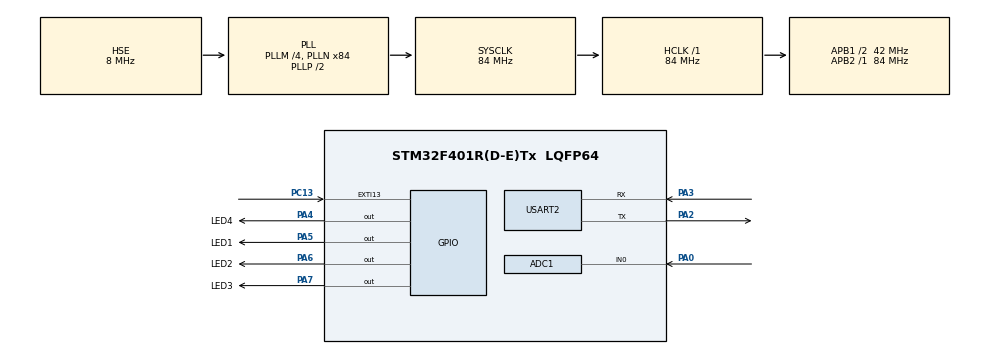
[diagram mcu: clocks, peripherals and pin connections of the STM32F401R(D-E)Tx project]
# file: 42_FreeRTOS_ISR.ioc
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ADC1.Channel-0\#ChannelRegularConversion=ADC_CHANNEL_0
ADC1.NbrOfConversionFlag=1
ADC1.Rank-0\#ChannelRegularConversion=1
ADC1.SamplingTime-0\#ChannelRegularConversion=ADC_SAMPLETIME_3CYCLES
ADC1.master=1
Mcu.Family=STM32F4
Mcu.Name=STM32F401R(D-E)Tx
Mcu.Package=LQFP64
NVIC.EXTI15_10_IRQn=true\:6\:0\:true\:false\:true\:true\:true\:true
NVIC.PriorityGroup=NVIC_PRIORITYGROUP_4
NVIC.TIM1_TRG_COM_TIM11_IRQn=true\:15\:0\:false\:false\:true\:false\:true\:true
NVIC.TimeBase=TIM1_TRG_COM_TIM11_IRQn
NVIC.TimeBaseIP=TIM11
NVIC.USART2_IRQn=true\:5\:0\:true\:false\:true\:true\:true\:true
PA0-WKUP.Signal=ADCx_IN0
PA2.Mode=Asynchronous
PA2.Signal=USART2_TX
PA3.Mode=Asynchronous
PA3.Signal=USART2_RX
PA4.GPIO_Label=LED4
PA4.Signal=GPIO_Output
PA5.GPIO_Label=LED1
PA5.Signal=GPIO_Output
PA6.GPIO_Label=LED2
PA6.Signal=GPIO_Output
PA7.GPIO_Label=LED3
PA7.Signal=GPIO_Output
PC13-ANTI_TAMP.GPIO_ModeDefaultEXTI=GPIO_MODE_IT_FALLING
PC13-ANTI_TAMP.GPIO_PuPd=GPIO_PULLUP
PC13-ANTI_TAMP.Signal=GPXTI13
PH0\ -\ OSC_IN.Mode=HSE-External-Clock-Source
PH0\ -\ OSC_IN.Signal=RCC_OSC_IN
PH1\ -\ OSC_OUT.Mode=HSE-External-Clock-Source
PH1\ -\ OSC_OUT.Signal=RCC_OSC_OUT
ProjectManager.HeapSize=0x200
ProjectManager.StackSize=0x400
ProjectManager.TargetToolchain=STM32CubeIDE
RCC.48MHZClocksFreq_Value=42000000
RCC.AHBFreq_Value=84000000
RCC.APB1CLKDivider=RCC_HCLK_DIV2
RCC.APB1Freq_Value=42000000
RCC.APB1TimFreq_Value=84000000
RCC.APB2Freq_Value=84000000
RCC.APB2TimFreq_Value=84000000
RCC.CortexFreq_Value=84000000
RCC.HCLKFreq_Value=84000000
RCC.HSE_VALUE=8000000
RCC.HSI_VALUE=16000000
RCC.LSE_VALUE=32768
RCC.PLLM=4
RCC.PLLN=84
RCC.PLLSourceVirtual=RCC_PLLSOURCE_HSE
RCC.SYSCLKFreq_VALUE=84000000
RCC.SYSCLKSource=RCC_SYSCLKSOURCE_PLLCLK
RCC.VCOOutputFreq_Value=168000000
SH.ADCx_IN0.0=ADC1_IN0,IN0
USART2.VirtualMode=VM_ASYNC
VP_SYS_VS_tim11.Mode=TIM11
board=custom

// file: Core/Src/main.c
/* USER CODE BEGIN Header */
/* USER CODE END Header */
#include "main.h"
#include "adc.h"
#include "usart.h"
#include "gpio.h"

/* USER CODE BEGIN Includes */
#include "stdio.h"
#include "string.h"

#include "FreeRTOS.h"
#include "task.h"
#include "queue.h"
#include "semphr.h"
/* USER CODE END Includes */

/* USER CODE BEGIN PTD */
typedef struct{
	uint8_t channel;
	uint16_t value;
}ADC_t;

typedef struct{
	uint8_t buffer[20];
	uint8_t i;
	uint8_t Ubyte; //byte fin de cadena
}UART_t;

/* USER CODE END PTD */

/* USER CODE BEGIN PV */
xTaskHandle xTask1;
xTaskHandle xTask2;
xTaskHandle xTask3;

xQueueHandle xQueueUART;
xQueueHandle xQueueADC;

xSemaphoreHandle xSemaphExtern;
xSemaphoreHandle xSemaphUART;

UART_t uartsend;
/* USER CODE END PV */

void SystemClock_Config(void);
/* USER CODE BEGIN PFP */
void vTask1(void *params);
void vTask2(void *params);
void vTask3(void *params);

/* USER CODE END PFP */

/* USER CODE BEGIN 0 */
#define SYSTEM_VIEW				1

void UART_Printf(char *format,...);

/* USER CODE END 0 */

int main(void)
{

  /* MCU Configuration--------------------------------------------------------*/

  /* Reset of all peripherals, Initializes the Flash interface and the Systick. */
  HAL_Init();

  /* Configure the system clock */
  SystemClock_Config();

  /* Initialize all configured peripherals */
  MX_GPIO_Init();
  MX_USART2_UART_Init();
  MX_ADC1_Init();
  /* USER CODE BEGIN 2 */

  HAL_UART_Receive_IT(&huart2, &uartsend.buffer, sizeof(uartsend.buffer));

  BaseType_t status;
  status = xTaskCreate(vTask1, "tarea1", configMINIMAL_STACK_SIZE, NULL, 0, &xTask1);
  configASSERT(status == pdPASS);
  status = xTaskCreate(vTask2, "tarea2", configMINIMAL_STACK_SIZE, NULL, 0, &xTask2);
  configASSERT(status == pdPASS);
  status = xTaskCreate(vTask3, "tarea2", configMINIMAL_STACK_SIZE, NULL, 0, &xTask3);
  configASSERT(status == pdPASS);

  xQueueADC = xQueueCreate(5,sizeof(ADC_t)); //el tamaño de las estrucutra
  configASSERT(xQueueADC != NULL);

  xQueueUART = xQueueCreate(15,sizeof(UART_t)); //el tamaño de las estrucutra 15; porque va a tener mas flujo de datos
  configASSERT(xQueueUART != NULL);

  xSemaphExtern = xSemaphoreCreateBinary(); //
  configASSERT(xSemaphExtern != NULL);

  xSemaphUART= xSemaphoreCreateMutex(); //
  configASSERT(xSemaphUART != NULL);

  vTaskStartScheduler();//Arrancamos el kernel

  /* USER CODE END 2 */

  /* Infinite loop */
  while(1){}

}

void SystemClock_Config(void)
{
  RCC_OscInitTypeDef RCC_OscInitStruct = {0};
  RCC_ClkInitTypeDef RCC_ClkInitStruct = {0};

  /** Configure the main internal regulator output voltage
  */
  __HAL_RCC_PWR_CLK_ENABLE();
  __HAL_PWR_VOLTAGESCALING_CONFIG(PWR_REGULATOR_VOLTAGE_SCALE2);

  /** Initializes the RCC Oscillators according to the specified parameters
  * in the RCC_OscInitTypeDef structure.
  */
  RCC_OscInitStruct.OscillatorType = RCC_OSCILLATORTYPE_HSE;
  RCC_OscInitStruct.HSEState = RCC_HSE_BYPASS;
  RCC_OscInitStruct.PLL.PLLState = RCC_PLL_ON;
  RCC_OscInitStruct.PLL.PLLSource = RCC_PLLSOURCE_HSE;
  RCC_OscInitStruct.PLL.PLLM = 4;
  RCC_OscInitStruct.PLL.PLLN = 84;
  RCC_OscInitStruct.PLL.PLLP = RCC_PLLP_DIV2;
  RCC_OscInitStruct.PLL.PLLQ = 4;
  if (HAL_RCC_OscConfig(&RCC_OscInitStruct) != HAL_OK)
  {
    Error_Handler();
  }

  /** Initializes the CPU, AHB and APB buses clocks
  */
  RCC_ClkInitStruct.ClockType = RCC_CLOCKTYPE_HCLK|RCC_CLOCKTYPE_SYSCLK
                              |RCC_CLOCKTYPE_PCLK1|RCC_CLOCKTYPE_PCLK2;
  RCC_ClkInitStruct.SYSCLKSource = RCC_SYSCLKSOURCE_PLLCLK;
  RCC_ClkInitStruct.AHBCLKDivider = RCC_SYSCLK_DIV1;
  RCC_ClkInitStruct.APB1CLKDivider = RCC_HCLK_DIV2;
  RCC_ClkInitStruct.APB2CLKDivider = RCC_HCLK_DIV1;

  if (HAL_RCC_ClockConfig(&RCC_ClkInitStruct, FLASH_LATENCY_2) != HAL_OK)
  {
    Error_Handler();
  }
}

/* USER CODE BEGIN 4 */
void vTask1(void *params){

	for(;;){
		if(xSemaphoreTake(xSemaphExtern,portMAX_DELAY)){
			HAL_GPIO_TogglePin(GPIOA, GPIO_PIN_5);
			UART_Printf("Semaforo Recibido de EXT INT\n\r");
		}
		vTaskDelay(pdMS_TO_TICKS(250));
	}
	vTaskDelete(NULL);
}

void vTask2(void *params){
	ADC_t task_data;

	for(;;){
		HAL_ADC_Start(&hadc1);
		HAL_Delay(1);
		task_data.value = HAL_ADC_GetValue(&hadc1);
		task_data.channel = 0; //canal analogico 0

		if(xQueueSend(xQueueADC,&task_data,portMAX_DELAY)){
			UART_Printf("Queue ADC send\n\r");
		}
		vTaskDelay(pdMS_TO_TICKS(2000));
	}
	vTaskDelete(NULL);
}

void vTask3(void *params){
	huart2.Instance->CR1 &= ~ USART_CR1_UE; //deshabilitar UART
	huart2.Instance->CR1 |= USART_CR1_RE; //habilitando recepcion
	huart2.Instance->CR1 |= USART_CR1_RXNEIE; //habilitar interrupcion por recpcion uart

	HAL_NVIC_SetPriority(USART2_IRQn, 5, 0);
	HAL_NVIC_EnableIRQ(USART2_IRQn);
	huart2.Instance->CR1 |= USART_CR1_UE; //habilitar UART

	UART_t task_uart;
	for(;;){
		if(xQueueReceive(xQueueUART, (void *)&task_uart, 9000)){
			UART_Printf("buffer: %s\n\r",task_uart.buffer);
			UART_Printf("i: %u\n\r",task_uart.i);
			UART_Printf("Ultimo byte: %X\n\r",task_uart.Ubyte);
		}else{
			UART_Printf("Escribeme :C\n\r");

		}
	}
	vTaskDelete(NULL);
}

void HAL_GPIO_EXTI_Callback(uint16_t GPIO_Pin)
{
	xSemaphoreGiveFromISR(xSemaphExtern,NULL); //libera el semaforo de interrupcion externa desde la ISR EXTI
}

/*void HAL_UART_RxCpltCallback(UART_HandleTypeDef *huart)
{

	ADC_t adcread;
	uartsend.Ubyte = USART2->DR;  //SE ACUMULA EN UARTE SEND

	if (uartsend.Ubyte == '*') {
	//if (uartsend.Ubyte == '\n' || uartsend.Ubyte == '\r') {

		xQueueSendFromISR(xQueueUART,&uartsend, NULL);
		memset(&uartsend,0,uartsend.i);

		if (xQueueReceiveFromISR(xQueueADC, (void*)&adcread, NULL)){
			printf("ADC VALUE: %u",adcread.value);
		}
	}else{
		uartsend.buffer[uartsend.i] = uartsend.Ubyte;
		uartsend.i++;
	}
	HAL_UART_Receive_IT(&huart2, &uartsend.buffer, sizeof(uartsend.buffer));
}
*/

void UART_Printf(char *format,...){
    char str[80];

    /*Extract the the argument list using VA apis */
    va_list args;
    va_start(args, format);
    vsprintf(str, format,args);
    if(xSemaphoreTake(xSemaphUART,(TickType_t)15)){ //cada 15 ticks comprueba esta condicional
    	HAL_UART_Transmit(&huart2, (uint8_t*)str, strlen(str), 10);
    }
    va_end(args);
    xSemaphoreGive(xSemaphUART);
}
/* USER CODE END 4 */

void HAL_TIM_PeriodElapsedCallback(TIM_HandleTypeDef *htim)
{
  if (htim->Instance == TIM11) {
    HAL_IncTick();
  }
}

void Error_Handler(void)
{
}
